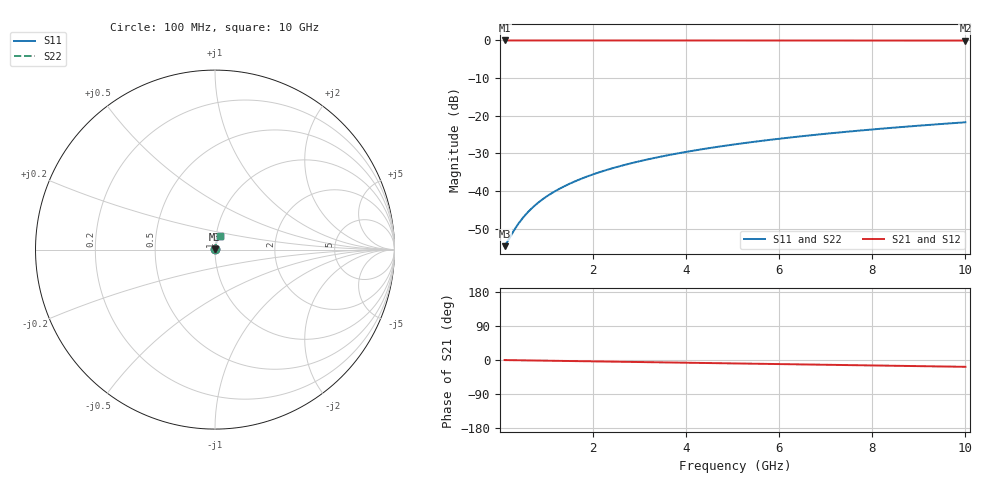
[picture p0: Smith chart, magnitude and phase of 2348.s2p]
# Hz S RI R 50.00
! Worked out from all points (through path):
!   100 points, 100 MHz to 10 GHz, reference 50 ohm
!   highest |S21| = -0.01 dB at 100 MHz (marker M1); lowest = 0.0 dB at 10 GHz (marker M2)
!   group delay of S21, straight-line fit = 5 ps
!   lowest |S11| = -54.6 dB at 100 MHz (marker M3), VSWR 1.00, Z = 50.2 + j0.0827 ohm
!   |S11| at or under -10 dB: start of sweep to end of sweep
!   |S22| runs from -54.6 to -21.7 dB; largest |S21 - S12| = 0
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1e8  0.00167 0.000825  0.9983 -0.00312  0.9983 -0.00312  0.00167 0.000825
3e8  0.0017 0.00247  0.9983 -0.00936  0.9983 -0.00936  0.0017 0.00247
4e8  0.00173 0.0033  0.9982 -0.0125  0.9982 -0.0125  0.00173 0.0033
5e8  0.00176 0.00412  0.9982 -0.0156  0.9982 -0.0156  0.00176 0.00412
6e8  0.00179 0.00495  0.9981 -0.0187  0.9981 -0.0187  0.00179 0.00495
7e8  0.00183 0.00577  0.998 -0.0218  0.998 -0.0218  0.00183 0.00577
8e8  0.00187 0.00659  0.9979 -0.025  0.9979 -0.025  0.00187 0.00659
1e9  0.00197 0.00824  0.9977 -0.0312  0.9977 -0.0312  0.00197 0.00824
1.2e9  0.00208 0.00988  0.9975 -0.0374  0.9975 -0.0374  0.00208 0.00988
1.5e9  0.0023 0.0123  0.9971 -0.0468  0.9971 -0.0468  0.0023 0.0123
1.8e9  0.00256 0.0148  0.9965 -0.0561  0.9965 -0.0561  0.00256 0.0148
2.1e9  0.00286 0.0173  0.9959 -0.0655  0.9959 -0.0655  0.00286 0.0173
2.5e9  0.00334 0.0205  0.995 -0.0779  0.995 -0.0779  0.00334 0.0205
2.9e9  0.0039 0.0238  0.9938 -0.0904  0.9938 -0.0904  0.0039 0.0238
3.4e9  0.00472 0.0278  0.9922 -0.1059  0.9922 -0.1059  0.00472 0.0278
4.2e9  0.00628 0.0342  0.989 -0.1307  0.989 -0.1307  0.00628 0.0342
5.1e9  0.00842 0.0413  0.9846 -0.1586  0.9846 -0.1586  0.00842 0.0413
5.9e9  0.0107 0.0475  0.98 -0.1832  0.98 -0.1832  0.0107 0.0475
6.7e9  0.0132 0.0536  0.9747 -0.2077  0.9747 -0.2077  0.0132 0.0536
7.5e9  0.0161 0.0596  0.9688 -0.232  0.9688 -0.232  0.0161 0.0596
8.4e9  0.0197 0.0662  0.9613 -0.2593  0.9613 -0.2593  0.0197 0.0662
1e10  0.0269 0.0773  0.9461 -0.3071  0.9461 -0.3071  0.0269 0.0773
